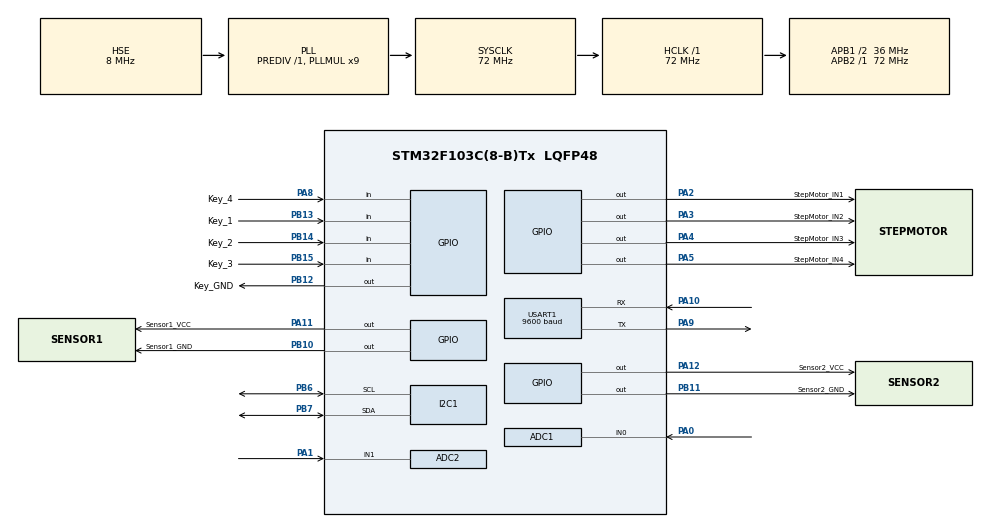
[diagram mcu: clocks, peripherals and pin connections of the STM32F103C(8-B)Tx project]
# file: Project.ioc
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ADC1.Channel-0\#ChannelRegularConversion=ADC_CHANNEL_0
ADC1.NbrOfConversion=1
ADC1.NbrOfConversionFlag=1
ADC1.Rank-0\#ChannelRegularConversion=1
ADC1.SamplingTime-0\#ChannelRegularConversion=ADC_SAMPLETIME_1CYCLE_5
ADC1.master=1
ADC2.Channel-0\#ChannelRegularConversion=ADC_CHANNEL_1
ADC2.NbrOfConversionFlag=1
ADC2.Rank-0\#ChannelRegularConversion=1
ADC2.SamplingTime-0\#ChannelRegularConversion=ADC_SAMPLETIME_1CYCLE_5
Dma.Request0=USART1_RX
Dma.Request1=USART1_TX
Dma.USART1_RX.0.Direction=DMA_PERIPH_TO_MEMORY
Dma.USART1_RX.0.Instance=DMA1_Channel5
Dma.USART1_RX.0.MemDataAlignment=DMA_MDATAALIGN_BYTE
Dma.USART1_RX.0.MemInc=DMA_MINC_ENABLE
Dma.USART1_RX.0.Mode=DMA_NORMAL
Dma.USART1_RX.0.PeriphDataAlignment=DMA_PDATAALIGN_BYTE
Dma.USART1_RX.0.PeriphInc=DMA_PINC_DISABLE
Dma.USART1_RX.0.Priority=DMA_PRIORITY_LOW
Dma.USART1_TX.1.Direction=DMA_MEMORY_TO_PERIPH
Dma.USART1_TX.1.Instance=DMA1_Channel4
Dma.USART1_TX.1.MemDataAlignment=DMA_MDATAALIGN_BYTE
Dma.USART1_TX.1.MemInc=DMA_MINC_ENABLE
Dma.USART1_TX.1.Mode=DMA_NORMAL
Dma.USART1_TX.1.PeriphDataAlignment=DMA_PDATAALIGN_BYTE
Dma.USART1_TX.1.PeriphInc=DMA_PINC_DISABLE
Dma.USART1_TX.1.Priority=DMA_PRIORITY_LOW
Mcu.Family=STM32F1
Mcu.Name=STM32F103C(8-B)Tx
Mcu.Package=LQFP48
NVIC.DMA1_Channel4_IRQn=true\:0\:0\:false\:false\:true\:false\:true\:true
NVIC.DMA1_Channel5_IRQn=true\:0\:0\:false\:false\:true\:false\:true\:true
NVIC.PriorityGroup=NVIC_PRIORITYGROUP_4
PA0-WKUP.Signal=ADCx_IN0
PA1.Signal=ADCx_IN1
PA10.Mode=Asynchronous
PA10.Signal=USART1_RX
PA11.GPIO_Label=Sensor1_VCC
PA11.GPIO_PuPd=GPIO_PULLUP
PA11.GPIO_Speed=GPIO_SPEED_FREQ_HIGH
PA11.PinState=GPIO_PIN_SET
PA11.Signal=GPIO_Output
PA12.GPIO_Label=Sensor2_VCC
PA12.GPIO_PuPd=GPIO_PULLUP
PA12.GPIO_Speed=GPIO_SPEED_FREQ_HIGH
PA12.PinState=GPIO_PIN_SET
PA12.Signal=GPIO_Output
PA13.Mode=Serial_Wire
PA13.Signal=SYS_JTMS-SWDIO
PA14.Mode=Serial_Wire
PA14.Signal=SYS_JTCK-SWCLK
PA2.GPIO_Label=StepMotor_IN1
PA2.GPIO_PuPd=GPIO_PULLDOWN
PA2.GPIO_Speed=GPIO_SPEED_FREQ_HIGH
PA2.Signal=GPIO_Output
PA3.GPIO_Label=StepMotor_IN2
PA3.GPIO_PuPd=GPIO_PULLDOWN
PA3.GPIO_Speed=GPIO_SPEED_FREQ_HIGH
PA3.Signal=GPIO_Output
PA4.GPIO_Label=StepMotor_IN3
PA4.GPIO_PuPd=GPIO_PULLDOWN
PA4.GPIO_Speed=GPIO_SPEED_FREQ_HIGH
PA4.Signal=GPIO_Output
PA5.GPIO_Label=StepMotor_IN4
PA5.GPIO_PuPd=GPIO_PULLDOWN
PA5.GPIO_Speed=GPIO_SPEED_FREQ_HIGH
PA5.Signal=GPIO_Output
PA8.GPIO_Label=Key_4
PA8.GPIO_PuPd=GPIO_PULLUP
PA8.Signal=GPIO_Input
PA9.Mode=Asynchronous
PA9.Signal=USART1_TX
PB10.GPIO_Label=Sensor1_GND
PB10.GPIO_PuPd=GPIO_PULLDOWN
PB10.GPIO_Speed=GPIO_SPEED_FREQ_HIGH
PB10.Signal=GPIO_Output
PB11.GPIO_Label=Sensor2_GND
PB11.GPIO_PuPd=GPIO_PULLDOWN
PB11.GPIO_Speed=GPIO_SPEED_FREQ_HIGH
PB11.Signal=GPIO_Output
PB12.GPIO_Label=Key_GND
PB12.GPIO_PuPd=GPIO_PULLDOWN
PB12.GPIO_Speed=GPIO_SPEED_FREQ_HIGH
PB12.Signal=GPIO_Output
PB13.GPIO_Label=Key_1
PB13.GPIO_PuPd=GPIO_PULLUP
PB13.Signal=GPIO_Input
PB14.GPIO_Label=Key_2
PB14.GPIO_PuPd=GPIO_PULLUP
PB14.Signal=GPIO_Input
PB15.GPIO_Label=Key_3
PB15.GPIO_PuPd=GPIO_PULLUP
PB15.Signal=GPIO_Input
PB6.Mode=I2C
PB6.Signal=I2C1_SCL
PB7.Mode=I2C
PB7.Signal=I2C1_SDA
PC14-OSC32_IN.Mode=LSE-External-Oscillator
PC14-OSC32_IN.Signal=RCC_OSC32_IN
PC15-OSC32_OUT.Mode=LSE-External-Oscillator
PC15-OSC32_OUT.Signal=RCC_OSC32_OUT
PD0-OSC_IN.Mode=HSE-External-Oscillator
PD0-OSC_IN.Signal=RCC_OSC_IN
PD1-OSC_OUT.Mode=HSE-External-Oscillator
PD1-OSC_OUT.Signal=RCC_OSC_OUT
ProjectManager.HeapSize=0x200
ProjectManager.StackSize=0x400
ProjectManager.TargetToolchain=MDK-ARM V5.32
RCC.ADCPresc=RCC_ADCPCLK2_DIV6
RCC.AHBFreq_Value=72000000
RCC.APB1CLKDivider=RCC_HCLK_DIV2
RCC.APB1Freq_Value=36000000
RCC.APB1TimFreq_Value=72000000
RCC.APB2Freq_Value=72000000
RCC.APB2TimFreq_Value=72000000
RCC.HCLKFreq_Value=72000000
RCC.PLLMUL=RCC_PLL_MUL9
RCC.PLLSourceVirtual=RCC_PLLSOURCE_HSE
RCC.SYSCLKFreq_VALUE=72000000
RCC.SYSCLKSource=RCC_SYSCLKSOURCE_PLLCLK
RCC.USBFreq_Value=72000000
RTC.Date=20
RTC.Hours=8
RTC.Month=RTC_MONTH_APRIL
RTC.WeekDay=RTC_WEEKDAY_THURSDAY
RTC.Year=23
SH.ADCx_IN0.0=ADC1_IN0,IN0
SH.ADCx_IN1.0=ADC2_IN1,IN1
USART1.BaudRate=9600
USART1.VirtualMode=VM_ASYNC
VP_RTC_No_RTC_Output.Mode=RTC_OUT_NO
VP_RTC_VS_RTC_Activate.Mode=RTC_Enabled
VP_RTC_VS_RTC_Calendar.Mode=RTC_Calendar
board=custom

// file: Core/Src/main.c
/* USER CODE BEGIN Header */
/**
 ******************************************************************************
 * @file           : main.c
 * @brief          : Main program body
 ******************************************************************************
 * @attention
 *
 * Copyright (c) 2023 STMicroelectronics.
 * All rights reserved.
 *
 * This software is licensed under terms that can be found in the LICENSE file
 * in the root directory of this software component.
 * If no LICENSE file comes with this software, it is provided AS-IS.
 *
 ******************************************************************************
 */
/* USER CODE END Header */
#include "main.h"
#include "adc.h"
#include "dma.h"
#include "i2c.h"
#include "rtc.h"
#include "usart.h"
#include "gpio.h"

/* USER CODE BEGIN Includes */
#include "oled.h"
#include "stepmotor.h"
/* USER CODE END Includes */

void SystemClock_Config(void);

int main(void)
{
  /* USER CODE BEGIN 1 */
	RTC_DateTypeDef sdatestructure;
	RTC_TimeTypeDef stimestructure;
	uint32_t indoorADCValue = 0;
	uint32_t outdoorADCValue = 0;
	uint8_t x = 0;
	uint8_t y = 0;
	uint16_t indoorLimitHighValue = 1100;
	uint16_t indoorLimitLowValue = 900;
	uint16_t outdoorLimitHighValue = 1100;
	uint16_t outdoorLimitLowValue = 900;
	uint8_t i = 0;
	uint8_t j = 0;
	uint8_t k = 0;
	uint8_t rxBuffer[1];
	uint8_t charCmd;
	uint8_t regularTimeAM_Hour = 12;
	uint8_t regularTimeAM_Minute = 30;
	uint8_t regularTimePM_Hour = 18;
	uint8_t regularTimePM_Minute = 30;
  /* USER CODE END 1 */

  /* MCU Configuration--------------------------------------------------------*/

  /* Reset of all peripherals, Initializes the Flash interface and the Systick. */
  HAL_Init();

  /* Configure the system clock */
  SystemClock_Config();

  /* Initialize all configured peripherals */
  MX_GPIO_Init();
  MX_DMA_Init();
  MX_ADC1_Init();
  MX_RTC_Init();
  MX_USART1_UART_Init();
  MX_I2C1_Init();
  MX_ADC2_Init();
  /* USER CODE BEGIN 2 */
	OLED_Init();
	OLED_Clear();
	OLED_ShowChinese(x + 16 + 16 * 0, y + 2 * 0, 0);
	OLED_ShowChinese(x + 16 + 16 * 1, y + 2 * 0, 1);
	OLED_ShowChinese(x + 16 + 16 * 2, y + 2 * 0, 2);
	OLED_ShowChinese(x + 16 + 16 * 3, y + 2 * 0, 3);
	OLED_ShowChinese(x + 16 + 16 * 4, y + 2 * 0, 4);
	OLED_ShowChinese(x + 16 + 16 * 5, y + 2 * 0, 5);
	OLED_ShowChinese(x + 16 * 0, y + 2 * 1, 6);
	OLED_ShowChinese(x + 16 * 1, y + 2 * 1, 7);
	OLED_ShowChar(x + 16 * 2 + 8 * 0, y + 2 * 1, ':', 16);
	OLED_ShowChinese(x + 16 * 0, y + 2 * 2, 8);
	OLED_ShowChinese(x + 16 * 1, y + 2 * 2, 9);
	OLED_ShowChar(x + 16 * 2 + 8 * 0, y + 2 * 2, ':', 16);
	OLED_ShowChinese(x + 16 * 0, y + 2 * 3, 10);
	OLED_ShowChinese(x + 16 * 1, y + 2 * 3, 11);
	OLED_ShowChar(x + 16 * 2 + 8 * 0, y + 2 * 3, ':', 16);
  /* USER CODE END 2 */

  /* Infinite loop */
  /* USER CODE BEGIN WHILE */
	while (1)
	{
		HAL_UART_Receive_DMA(&huart1, rxBuffer, 1);
		charCmd = rxBuffer[0];

		HAL_ADC_Start(&hadc1);
		HAL_ADC_PollForConversion(&hadc1, 50);
		indoorADCValue = HAL_ADC_GetValue(&hadc1);

		HAL_ADC_Start(&hadc2);
		HAL_ADC_PollForConversion(&hadc2, 50);
		outdoorADCValue = HAL_ADC_GetValue(&hadc2);

		HAL_RTC_GetTime(&hrtc, &stimestructure, RTC_FORMAT_BIN);
		HAL_RTC_GetDate(&hrtc, &sdatestructure, RTC_FORMAT_BIN);

		OLED_ShowNum(x + 16 * 2 + 8 * 1, y + 2 * 1, indoorADCValue, 5, 16);
		OLED_ShowChar(x + 16 * 2 + 8 * 7, y + 2 * 1, 'L', 16);
		OLED_ShowChar(x + 16 * 2 + 8 * 8, y + 2 * 1, 'x', 16);
		OLED_ShowNum(x + 16 * 2 + 8 * 1, y + 2 * 2, outdoorADCValue, 5, 16);
		OLED_ShowChar(x + 16 * 2 + 8 * 7, y + 2 * 2, 'L', 16);
		OLED_ShowChar(x + 16 * 2 + 8 * 8, y + 2 * 2, 'x', 16);

		if (HAL_GPIO_ReadPin(Key_1_GPIO_Port, Key_1_Pin) == GPIO_PIN_RESET)
		{
			HAL_Delay(50);
			i += 1;
		}

		switch (i % 3)
		{
		case 0:
			OLED_ShowChar(x + 16 * 2 + 8 * 1, y + 2 * 3, 'T', 16);
			OLED_ShowChar(x + 16 * 2 + 8 * 2, y + 2 * 3, 'i', 16);
			OLED_ShowChar(x + 16 * 2 + 8 * 3, y + 2 * 3, 'm', 16);
			OLED_ShowChar(x + 16 * 2 + 8 * 4, y + 2 * 3, 'e', 16);
			j = 3;
			break;
		case 1:
			OLED_ShowChar(x + 16 * 2 + 8 * 1, y + 2 * 3, 'A', 16);
			OLED_ShowChar(x + 16 * 2 + 8 * 2, y + 2 * 3, 'u', 16);
			OLED_ShowChar(x + 16 * 2 + 8 * 3, y + 2 * 3, 't', 16);
			OLED_ShowChar(x + 16 * 2 + 8 * 4, y + 2 * 3, 'o', 16);
			j = 1;
			break;
		case 2:
			OLED_ShowChar(x + 16 * 2 + 8 * 1, y + 2 * 3, 'H', 16);
			OLED_ShowChar(x + 16 * 2 + 8 * 2, y + 2 * 3, 'a', 16);
			OLED_ShowChar(x + 16 * 2 + 8 * 3, y + 2 * 3, 'n', 16);
			OLED_ShowChar(x + 16 * 2 + 8 * 4, y + 2 * 3, 'd', 16);
			j = 2;
			break;
		default:
			j = 0;
			break;
		}

		switch (j)
		{
		case 0:
			if (stimestructure.Hours == regularTimeAM_Hour)
			{
				if (stimestructure.Minutes == regularTimeAM_Minute)
				{
					StepMotor_Start(360 * 3, 0);
					StepMotor_Stop();
					k = 1;
				}
			}
			else if (stimestructure.Hours == regularTimePM_Hour)
			{
				if (stimestructure.Minutes == regularTimePM_Minute)
				{
					StepMotor_Start(360 * 3, 1);
				  StepMotor_Stop();
				  k = 2;
				}
			}
			break;
		case 1:
			if (k != 1)
			{
				if (indoorADCValue <= indoorLimitLowValue)
				{
					StepMotor_Start(360 * 3, 0);
					StepMotor_Stop();
					k = 1;
				}
			}
			if (k != 2)
			{
				if (indoorADCValue >= indoorLimitHighValue)
				{
					StepMotor_Start(360 * 3, 1);
					StepMotor_Stop();
					k = 2;
				}
			}
			break;
		case 2:
			if (HAL_GPIO_ReadPin(Key_2_GPIO_Port, Key_2_Pin) == GPIO_PIN_RESET || charCmd == '1')
			{
				HAL_Delay(50);
				if (k != 1)
				{
					StepMotor_Start(360 * 3, 0);
					StepMotor_Stop();
					k = 1;
				}
			}
			else if (HAL_GPIO_ReadPin(Key_3_GPIO_Port, Key_3_Pin) == GPIO_PIN_RESET || charCmd == '0')
			{
				HAL_Delay(50);
				if (k != 2)
				{
					StepMotor_Start(360 * 3, 1);
					StepMotor_Stop();
					k = 2;
				}
			}
			switch(charCmd)
			{
				case '2':
					regularTimeAM_Hour += 1;
				break;
				case '3':
					regularTimeAM_Hour -= 1;
				break;
				case '4':
					regularTimeAM_Minute += 5;
				break;
				case '5':
					regularTimeAM_Minute -= 5;
				break;
				case '6':
					regularTimePM_Hour += 1;
				break;
				case '7':
					regularTimePM_Hour -= 1;
				break;
				case '8':
					regularTimePM_Minute += 5;
				break;
				case '9':
					regularTimePM_Minute -= 5;
				break;
				default:
					;
				break;
			}
		break;
		default:
			StepMotor_Stop();
			StepMotor_Stop();
		break;
		}

		printf("-------------------------\n");
		if (k == 1)
		{
			printf("当前状态：打开！\n");
		}
		else if (k == 2)
		{
			printf("当前状态：关闭！\n");
		}
		printf("\n");
		printf("当前时间：%d-%d-%d, %d:%d:%d\n", sdatestructure.Year, sdatestructure.Month, sdatestructure.Date, stimestructure.Hours, stimestructure.Minutes, stimestructure.Seconds);
		printf("-------------------------\n");

		HAL_Delay(1000);
    /* USER CODE END WHILE */

	}
}

void SystemClock_Config(void)
{
  RCC_OscInitTypeDef RCC_OscInitStruct = {0};
  RCC_ClkInitTypeDef RCC_ClkInitStruct = {0};
  RCC_PeriphCLKInitTypeDef PeriphClkInit = {0};

  /** Initializes the RCC Oscillators according to the specified parameters
  * in the RCC_OscInitTypeDef structure.
  */
  RCC_OscInitStruct.OscillatorType = RCC_OSCILLATORTYPE_LSI|RCC_OSCILLATORTYPE_HSE;
  RCC_OscInitStruct.HSEState = RCC_HSE_ON;
  RCC_OscInitStruct.HSEPredivValue = RCC_HSE_PREDIV_DIV1;
  RCC_OscInitStruct.HSIState = RCC_HSI_ON;
  RCC_OscInitStruct.LSIState = RCC_LSI_ON;
  RCC_OscInitStruct.PLL.PLLState = RCC_PLL_ON;
  RCC_OscInitStruct.PLL.PLLSource = RCC_PLLSOURCE_HSE;
  RCC_OscInitStruct.PLL.PLLMUL = RCC_PLL_MUL9;
  if (HAL_RCC_OscConfig(&RCC_OscInitStruct) != HAL_OK)
  {
    Error_Handler();
  }

  /** Initializes the CPU, AHB and APB buses clocks
  */
  RCC_ClkInitStruct.ClockType = RCC_CLOCKTYPE_HCLK|RCC_CLOCKTYPE_SYSCLK
                              |RCC_CLOCKTYPE_PCLK1|RCC_CLOCKTYPE_PCLK2;
  RCC_ClkInitStruct.SYSCLKSource = RCC_SYSCLKSOURCE_PLLCLK;
  RCC_ClkInitStruct.AHBCLKDivider = RCC_SYSCLK_DIV1;
  RCC_ClkInitStruct.APB1CLKDivider = RCC_HCLK_DIV2;
  RCC_ClkInitStruct.APB2CLKDivider = RCC_HCLK_DIV1;

  if (HAL_RCC_ClockConfig(&RCC_ClkInitStruct, FLASH_LATENCY_2) != HAL_OK)
  {
    Error_Handler();
  }
  PeriphClkInit.PeriphClockSelection = RCC_PERIPHCLK_RTC|RCC_PERIPHCLK_ADC;
  PeriphClkInit.RTCClockSelection = RCC_RTCCLKSOURCE_LSI;
  PeriphClkInit.AdcClockSelection = RCC_ADCPCLK2_DIV6;
  if (HAL_RCCEx_PeriphCLKConfig(&PeriphClkInit) != HAL_OK)
  {
    Error_Handler();
  }
}

void Error_Handler(void)
{
	__disable_irq();
	while (1)
	{
	}
}
